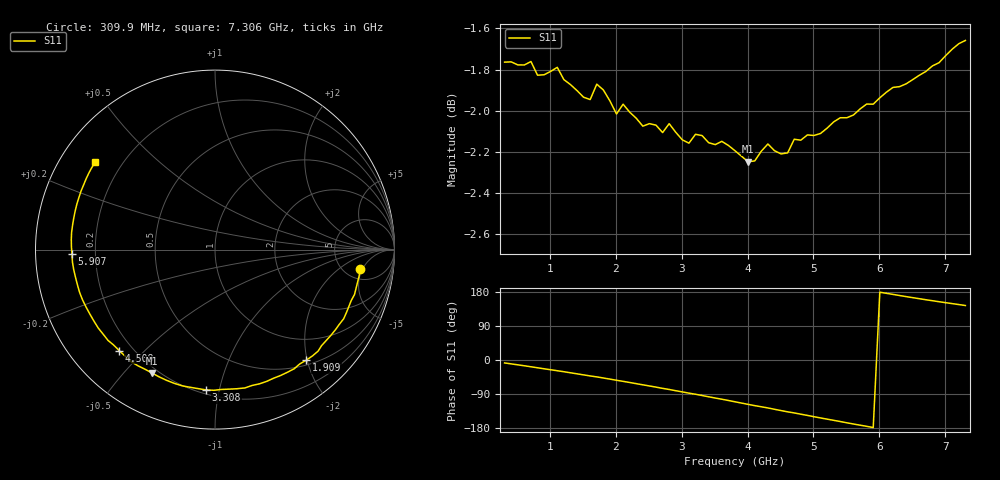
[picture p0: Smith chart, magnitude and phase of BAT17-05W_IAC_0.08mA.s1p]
! Infineon Technologies  Discrete & RF Semiconductors
! BAT17-05W
! IAC = 0.08 mA
! One-Port S-Parameters
# Hz  S  MA  R  50
!f  S11
!Hz  Mag  Ang
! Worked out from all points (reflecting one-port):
!   71 points, 309.9 MHz to 7.306 GHz, reference 50 ohm
!   lowest |S11| = -2.2 dB at 4.008 GHz (marker M1), VSWR 7.77, Z = 8.79 - j29.9 ohm
!   phase of S11 starts at -8 deg and turns -209 deg over the sweep
!   S11 on the Smith chart (normalised r, x): 309.9 MHz: 6.88, -4.51; 1.909 GHz: 0.58, -1.99; 3.308 GHz: 0.23, -0.91; 4.508 GHz: 0.15, -0.42; 5.907 GHz: 0.11, -0.02; 7.306 GHz: 0.11, +0.32
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3.0985e8  0.8162 -7.7
7.0965e8  0.8165 -17.9
1.10945e9  0.8138 -28.3
1.2094e9  0.8083 -30.9
1.6092e9  0.7993 -42.1
1.70915e9  0.8062 -44.5
1.90905e9  0.7987 -50.4
2.10895e9  0.7972 -56.3
2.6087e9  0.7879 -71.6
2.8086e9  0.7886 -77.8
3.0085e9  0.7815 -84.2
3.30835e9  0.7833 -93.7
3.6082e9  0.7808 -103.5
3.8081e9  0.7767 -110.3
4.008e9  0.7719 -117.1
4.30785e9  0.7796 -126.5
4.50775e9  0.7753 -133.5
4.70765e9  0.7817 -139.6
4.90755e9  0.7836 -146.2
5.2074e9  0.7866 -156.1
5.4073e9  0.7912 -162.4
5.6072e9  0.7924 -168.9
5.90705e9  0.7972 -178.2
6.2069e9  0.8047 173.1
6.50675e9  0.8083 164.5
6.8066e9  0.8145 156.5
7.10645e9  0.8221 148.8
7.30635e9  0.8262 143.8
